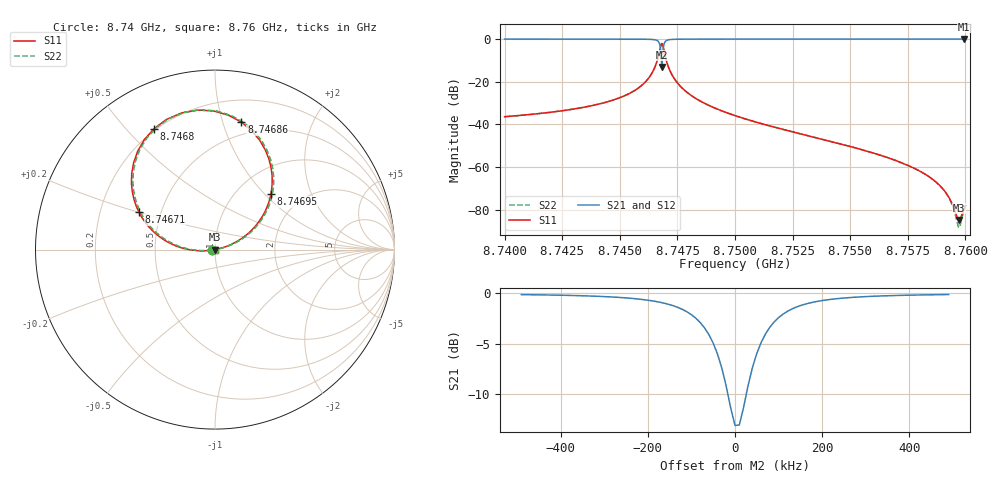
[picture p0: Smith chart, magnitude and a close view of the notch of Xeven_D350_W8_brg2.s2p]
! Sonnet Data File
! From: emgraph Version : 16.52
! From Emgraph Data: Qubit_Xmon2_brgDb
! Data File Written: 10/26/2017 13:09:46
!< HDATE 10/25/2017 23:47:25
!< MDATE 10/25/2017 23:47:25
!< PARAMS
!< Lj = 11.0
!< Gap = 6.0
!< Pwid = 2000.0
!< Width = 10.0
!< Bwid = 8.0
!< Dis1 = 350.0
!< END PARAMS
# GHZ S MA R 51.80000
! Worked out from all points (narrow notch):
!   2001 points, 8.74 GHz to 8.76 GHz, reference 51.8 ohm
!   highest |S21| = 0.00 dB at 8.75992 GHz (marker M1); lowest = -13.1 dB at 8.74682 GHz (marker M2)
!   notch at M2: 13.1 dB deep, 82.2 kHz wide at half that depth
!   lowest |S11| = -84.9 dB at 8.75972 GHz (marker M3), VSWR 1.00, Z = 51.8 + j0.00583 ohm
!   |S11| at or under -10 dB: start of sweep to 8.746627 GHz; 8.747017 GHz to end of sweep
!   |S22| runs from -88.5 to -2.1 dB; largest |S21 - S12| = 0
!   S11 on the Smith chart (normalised r, x): 8.74 GHz: 0.97, -0.00; 8.74671 GHz: 0.37, +0.20; 8.7468 GHz: 0.19, +0.60; 8.74686 GHz: 0.38, +1.15; 8.74695 GHz: 1.41, +1.09; 8.76 GHz: 1.00, +0.00
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8.74  0.01509 -170.5  0.9999 -80.8  0.9999 -80.8  0.01509 -171.3
!< P1 F=8.74 Eeff=(6.44680411 -2.9786e-5) Z0=(51.7992029 1.19069e-4) R=0.0 C=0.0
!< P2 F=8.74 Eeff=(6.44680411 -2.9786e-5) Z0=(51.7992029 1.19069e-4) R=0.0 C=0.0
8.74334  0.02454 -171.1  0.9996 -81.3  0.9996 -81.3  0.02454 -172.1
8.74572  0.06599 -174.1  0.9968 -83.8  0.9968 -83.8  0.06599 -175.2
8.74632  0.1366 -179.3  0.9858 -87.8  0.9858 -87.8  0.1366 179.6
8.74656  0.2467 172.5  0.9524 -94.2  0.9524 -94.2  0.2467 171.3
8.74667  0.3846 161.4  0.8792 -102.4  0.8792 -102.4  0.3845 160.3
8.74671  0.4733 153.7  0.8095 -107.8  0.8095 -107.8  0.4733 152.5
8.7468  0.7547 116.7  0.3456 -117.3  0.3456 -117.3  0.7547 115.5
8.74682  0.7838 103.8  0.2219 -91.4  0.2219 -91.4  0.7838 102.6
8.74686  0.7253 78.3  0.4291 -40.0  0.4291 -40.0  0.7253 77.1
8.74695  0.4404 44.9  0.8353 -54.1  0.8353 -54.1  0.4404 43.7
8.74716  0.1899 24.8  0.9711 -69.0  0.9711 -69.0  0.1899 23.6
8.74781  0.06296 15.4  0.9967 -76.4  0.9967 -76.4  0.06295 14.1
8.75  0.016 12.1  0.9997 -79.1  0.9997 -79.1  0.016 10.6
8.75334  0.005121 11.7  1 -79.7  1 -79.7  0.00512 9.5
8.75667  0.001622 12.8  1 -80.0  1 -80.0  0.001621 8.3
8.75853  0.0005359 16.8  1 -80.0  1 -80.0  0.0005339 5.5
8.75908  0.0002802 22.4  1 -80.1  1 -80.1  0.0002766 1.7
8.75952  0.0001012 45.0  1 -80.1  1 -80.1  9.137e-05 -14.8
8.75972  5.704e-05 99.4  1 -80.1  1 -80.1  3.755e-05 -79.2
8.75992  9.715e-05 154.7  1 -80.1  1 -80.1  8.745e-05 -145.1
8.76  0.0001238 163.2  1 -80.1  1 -80.1  0.0001165 -151.7
